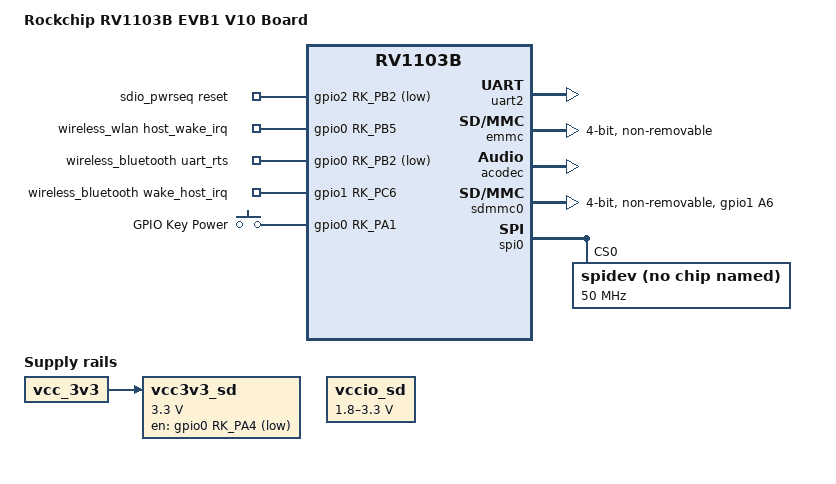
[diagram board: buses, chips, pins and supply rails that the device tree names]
// SPDX-License-Identifier: (GPL-2.0+ OR MIT)
/*
 * Copyright (c) 2024 Rockchip Electronics Co., Ltd.
 */

/dts-v1/;

#include "rv1103b.dtsi"
#include "rv1103b-evb.dtsi"
#include "rv1103b-evb-cam.dtsi"

/ {
	model = "Rockchip RV1103B EVB1 V10 Board";
	compatible = "rockchip,rv1103b-evb1-v10", "rockchip,rv1103b";

	sdio_pwrseq: sdio-pwrseq {
		compatible = "mmc-pwrseq-simple";
		pinctrl-names = "default";
		pinctrl-0 = <&wifi_enable_h>;
		/*
		 * On the module itself this is one of these (depending
		 * on the actual card populated):
		 * - SDIO_RESET_L_WL_REG_ON
		 * - PDN (power down when low)
		 */
		post-power-on-delay-ms = <300>;
		reset-gpios = <&gpio2 RK_PB2 GPIO_ACTIVE_LOW>;
	};

//	acodec_sound: acodec-sound {
 //                compatible = "simple-audio-card";
//                 simple-audio-card,name = "rv-acodec";
//                 simple-audio-card,format = "i2s";
 //                simple-audio-card,mclk-fs = <256>;
 //                simple-audio-card,cpu {
 //                        sound-dai = <&i2s0_8ch>;
 //                };
 //                simple-audio-card,codec {
 //                        sound-dai = <&acodec>;
 //                };
 //     };

	vcc3v3_sd: vcc3v3-sd {
		compatible = "regulator-fixed";
		gpio = <&gpio0 RK_PA4 GPIO_ACTIVE_LOW>;
		regulator-name = "vcc3v3_sd";
		regulator-min-microvolt = <3300000>;
		regulator-max-microvolt = <3300000>;
		pinctrl-names = "default";
		pinctrl-0 = <&sdmmc_pwren>;
		vin-supply = <&vcc_3v3>;
	};

	vccio_sd: vccio-sd {
		compatible = "regulator-gpio";
		regulator-name = "vccio_sd";
		regulator-min-microvolt = <1800000>;
		regulator-max-microvolt = <3300000>;
		gpios = <&gpio0 RK_PA3 GPIO_ACTIVE_HIGH>;
		states = <3300000 1
			  1800000 0>;
		pinctrl-names = "default";
		pinctrl-0 = <&sdmmc_volt>;
	};

	wireless_wlan: wireless-wlan {
		compatible = "wlan-platdata";
		wifi_chip_type = "rtl8723ds";
		pinctrl-names = "default";
//		pinctrl-0 = <&wifi_host_wake_irq>;
		WIFI,host_wake_irq = <&gpio0 RK_PB5 GPIO_ACTIVE_HIGH>;
		status = "okay";
	};

	wireless_bluetooth: wireless-bluetooth {
                  compatible = "bluetooth-platdata";
                  uart_rts_gpios = <&gpio0 RK_PB2 GPIO_ACTIVE_LOW>;
                  pinctrl-names = "default", "rts_gpio";
                  pinctrl-0 = <&uart2m0_rtsn_pins>;
     //           pinctrl-1 = <&uart2_rts_gpio>;
      //          BT,wake_gpio     = <&gpio1 RK_PC5 GPIO_ACTIVE_HIGH>; //host wake bt
                  BT,wake_host_irq = <&gpio1 RK_PC6 GPIO_ACTIVE_HIGH>;  //bt wake host
                  status = "okay";
       };
	
	gpio_keys: gpio_keys {
                  compatible = "gpio-keys";
                  #address-cells = <1>;
                  #size-cells = <0>;
 		  autorepeat; 
                  pinctrl-names = "default";
                  pinctrl-0 = <&pwr_key>;
  
                  power_key {
                          label = "GPIO Key Power";
			  linux,code = <KEY_POWER>;
                          gpios = <&gpio0 RK_PA1 GPIO_ACTIVE_HIGH>;
			  wakeup-source;
                          debounce-interval = <100>; 
		  };
          };

	  bt_codec: bt-sco {
                  compatible = "linux,bt-sco";
                  #sound-dai-cells = <0>;
         };

};

&pinctrl {

	sdio-pwrseq {
		wifi_enable_h: wifi-enable-h {
			rockchip,pins = <2 RK_PB2 RK_FUNC_GPIO &pcfg_pull_none>; };
	};

	sdmmc {
		/omit-if-no-ref/
		sdmmc_pwren: sdmmc-pwren {
			rockchip,pins = <0 RK_PA4 RK_FUNC_GPIO &pcfg_pull_none>;
		};

		/omit-if-no-ref/
		sdmmc_volt: sdmmc-volt {
			rockchip,pins = <0 RK_PA3 RK_FUNC_GPIO &pcfg_pull_none>;
		};

		sdmmc0_det: sdmmc0-det {
			rockchip,pins = <1 RK_PA6 1 &pcfg_pull_down>;
		};

	};

//	wireless-bluetooth {
// 	     	uart2_rts_gpio: uart2-gpios {
//        		rockchip,pins = <2 RK_PA6 RK_FUNC_GPIO &pcfg_pull_none>;
//      		};
//    	};

//	wireless-wifi {
//		wifi_host_wake_irq: wifi_wake_irq {
//			rockchip,pins = <0 RK_PB5 RK_FUNC_GPIO &pcfg_pull_none>;
//		};
//	};

	buttons {
                pwr_key: pwr-key {
                         rockchip,pins = <0 RK_PA1 RK_FUNC_GPIO &pcfg_pull_none>;
                };
        };
};

&uart2 {
        status = "okay";
        pinctrl-names = "default";
        pinctrl-0 = <&uart2m0_xfer_pins &uart2m0_ctsn_pins &uart2m0_rtsn_pins>;
};

&emmc {
	no-sdio;
	no-sd;
	bus-width = <4>;
	cap-mmc-highspeed;
	non-removable;
	mmc-hs200-1_8v;
	status = "okay";
};

//&i2s0_8ch {
//          #sound-dai-cells = <0>;
//          status = "okay";
//};
 
&acodec {
         #sound-dai-cells = <0>;
         pa-ctl-gpios = <&gpio1 RK_PA1 GPIO_ACTIVE_HIGH>;
         status = "okay";
};

//&fspi0 {
//	status = "okay";
//
//	flash@0 {
//		compatible = "spi-nand";
//		reg = <0>;
//		spi-max-frequency = <75000000>;
//		spi-rx-bus-width = <4>;
//		spi-tx-bus-width = <1>;
//	};
//};

&sdmmc0 {
        max-frequency = <50000000>;
        bus-width = <4>;
        cap-sd-highspeed;
        cap-sdio-irq;
        keep-power-in-suspend;
        non-removable;
        rockchip,default-sample-phase = <90>;
        // no-sd;
        // no-mmc;
        supports-sdio;
        mmc-pwrseq = <&sdio_pwrseq>;
        pinctrl-names = "default";
        pinctrl-0 = <&sdmmc0_clk_pins &sdmmc0_cmd_pins &sdmmc0_bus4_pins &sdmmc0_det>;
        status = "okay";
};

&sdmmc1 {
	max-frequency = <150000000>;
	no-sd;
	no-mmc;
	bus-width = <4>;
	cap-sd-highspeed;
	cap-sdio-irq;
	keep-power-in-suspend;
	mmc-pwrseq = <&sdio_pwrseq>;
	non-removable;
	pinctrl-names = "default";
	pinctrl-0 = <&sdmmc1_cmd_pins &sdmmc1_clk_pins &sdmmc1_bus4_pins>;
	status = "disabled";
};

&spi0 {
     status = "okay";
     #address-cells = <1>;
     #size-cells = <0>;
 
     spidev@0 {
         compatible = "rohm,dh2228fv";
         reg = <0>;
         spi-max-frequency = <50000000>; // 50MHz
         spi-cpol; // 时钟极性为高电平
         spi-cpha; // 时钟相位为第二个边沿采样
         //spi-cs-high = <0>; // 片选信号为低电平有效
         status = "okay";
     };
};


&rockchip_suspend {
          status = "okay";

          rockchip,sleep-io-config = <
                  /* pmic_sleep */
                  (0
                  | RKPM_IO_CFG_IOMUX_GPIO
                  | RKPM_IO_CFG_GPIO_DIR_INPUT
                  | RKPM_IO_CFG_PULL_DOWN
                  | RKPM_IO_CFG_ID(0)
                  )
                  (0
                  | RKPM_IO_CFG_IOMUX_GPIO
                  | RKPM_IO_CFG_GPIO_DIR_INPUT
                  | RKPM_IO_CFG_PULL_NONE
                  | RKPM_IO_CFG_ID(1)
                  )
                  (0
                  | RKPM_IO_CFG_IOMUX_GPIO
                  | RKPM_IO_CFG_GPIO_DIR_INPUT
                  | RKPM_IO_CFG_PULL_NONE
                  | RKPM_IO_CFG_ID(2)
                  )
                  (0
                  | RKPM_IO_CFG_IOMUX(1)
                  | RKPM_IO_CFG_PULL_NONE
                  | RKPM_IO_CFG_ID(3)
                  )
                  (0
                  | RKPM_IO_CFG_IOMUX_GPIO
                  | RKPM_IO_CFG_GPIO_DIR_INPUT
                  | RKPM_IO_CFG_PULL_UP
                  | RKPM_IO_CFG_ID(4)
                  )
                  (0
                  | RKPM_IO_CFG_IOMUX_GPIO
                  | RKPM_IO_CFG_GPIO_DIR_INPUT
		  | RKPM_IO_CFG_PULL_DOWN
                  | RKPM_IO_CFG_ID(5)
                  )
                  (0
                  | RKPM_IO_CFG_IOMUX_GPIO
                  | RKPM_IO_CFG_GPIO_DIR_INPUT
                  | RKPM_IO_CFG_PULL_DOWN
                  | RKPM_IO_CFG_ID(6)
                 )
         >;

	 rockchip,sleep-mode-config = <
		(0
		| RKPM_SLP_32K_EXT
		)
	>;
	
};





